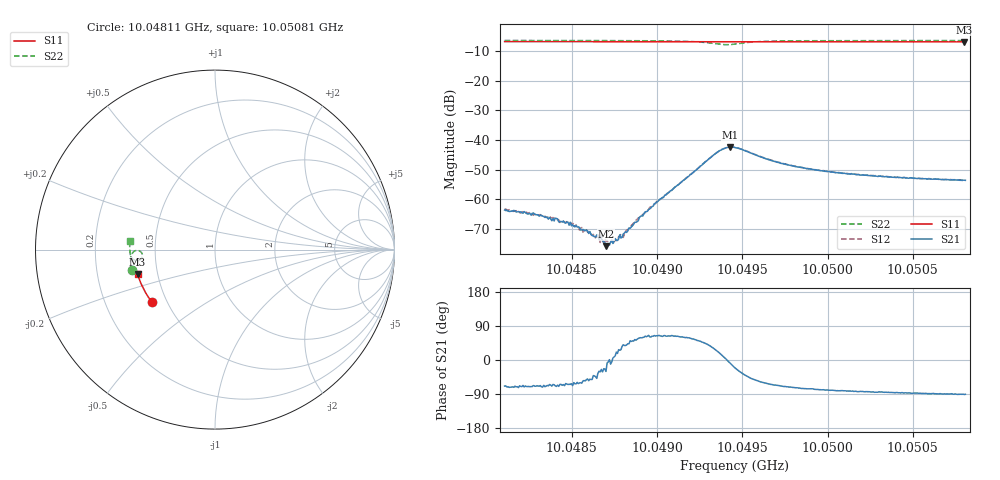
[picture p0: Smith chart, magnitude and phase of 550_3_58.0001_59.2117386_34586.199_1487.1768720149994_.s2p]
#  HZ  S  RI  R  50.00
! Rohde & Schwarz Vector Network Analyzer
! Rohde-Schwarz,ZNB20-2Port,1311601062101988,3.16
! Created: UTC 3/21/2024, 1:14:58 AM
! freq[Hz]  re:S11  im:S11  re:S21  im:S21  re:S12  im:S12  re:S22  im:S22
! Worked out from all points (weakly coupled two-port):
!   401 points, 10.04811 GHz to 10.05081 GHz, reference 50 ohm
!   highest |S21| = -42.45 dB at 10.04943 GHz (marker M1); lowest = -75.9 dB at 10.0487 GHz (marker M2)
!   lowest |S11| = -6.9 dB at 10.0508 GHz (marker M3), VSWR 2.65, Z = 19.2 - j6.55 ohm
!   |S11| at or under -10 dB: nowhere
!   |S22| runs from -7.8 to -6.4 dB; largest |S21 - S12| = 0.00057
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1.0048105e10  -0.3516 -0.2918  0.000238 -0.000612  0.000258 -0.000627  -0.4645 -0.1119
1.0048281e10  -0.3584 -0.2825  0.000202 -0.000521  0.000229 -0.000521  -0.4668 -0.0995
1.0048376e10  -0.3623 -0.2776  0.000189 -0.000425  0.000211 -0.000439  -0.4679 -0.0926
1.0048443e10  -0.3649 -0.2739  0.000162 -0.000377  0.000196 -0.000366  -0.4687 -0.088
1.0048497e10  -0.3669 -0.2709  0.000164 -0.000315  0.000216 -0.000328  -0.4691 -0.0839
1.0048558e10  -0.3691 -0.2676  0.000146 -0.000265  0.000186 -0.000275  -0.4697 -0.0792
1.0048599e10  -0.3707 -0.2655  0.000153 -0.000215  0.000196 -0.00019  -0.4699 -0.0762
1.0048626e10  -0.3717 -0.2639  0.00018 -0.000158  0.000175 -0.000185  -0.4701 -0.074
1.004866e10  -0.3729 -0.2621  0.000183 -0.000104  0.000171 -0.000137  -0.4703 -0.0713
1.00487e10  -0.3744 -0.2599  0.000139 -8.08e-05  0.000177 -8.05e-05  -0.4705 -0.0681
1.0048754e10  -0.3763 -0.2568  0.000212 4.09e-05  0.000187 7.48e-05  -0.4707 -0.0636
1.0048801e10  -0.3779 -0.2542  0.000198 0.000167  0.000182 0.000134  -0.4707 -0.0596
1.0048889e10  -0.3809 -0.2492  0.000236 0.00036  0.000248 0.000413  -0.4704 -0.0517
1.0049011e10  -0.3851 -0.2424  0.000408 0.000873  0.000352 0.000894  -0.4689 -0.0394
1.0049342e10  -0.3953 -0.2233  0.00523 0.00268  0.00504 0.00303  -0.4214 -0.00703
1.004943e10  -0.3976 -0.2186  0.00745 -0.00121  0.00752 -0.000712  -0.4054 -0.042
1.0049457e10  -0.3985 -0.2171  0.00694 -0.00264  0.00717 -0.00217  -0.412 -0.0532
1.004968e10  -0.4053 -0.2042  0.00184 -0.00399  0.00212 -0.00392  -0.4638 -0.0453
1.004991e10  -0.4117 -0.1903  0.000764 -0.00307  0.000929 -0.00305  -0.4732 -0.0195
1.0050362e10  -0.4226 -0.1628  0.00018 -0.00237  0.000309 -0.00233  -0.4753 0.0177
1.0050801e10  -0.4314 -0.1354  -3.49e-05 -0.00209  8.72e-05 -0.00211  -0.4735 0.0493
1.0050808e10  -0.4317 -0.135  -1.88e-05 -0.00208  8.1e-05 -0.00207  -0.4732 0.0495
